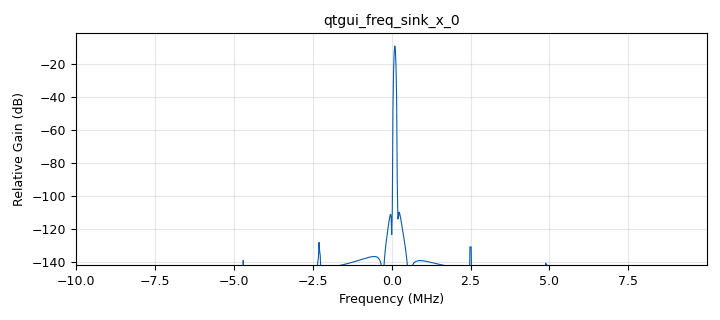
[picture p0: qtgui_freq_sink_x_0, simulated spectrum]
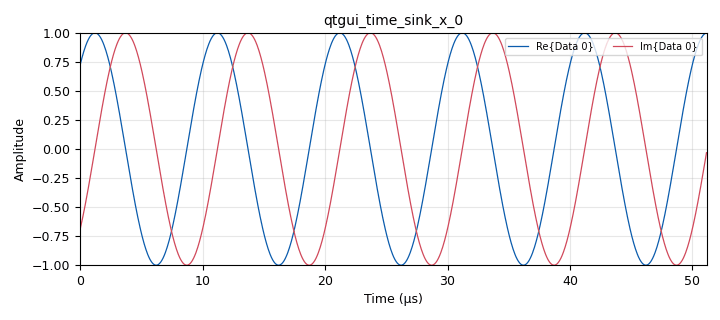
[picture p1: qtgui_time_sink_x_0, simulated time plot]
<?xml version='1.0' encoding='utf-8'?>
<?grc format='1' created='3.7.10'?>
<flow_graph>
<block>
<key>options</key>
<param><key>id</key><value>top_block</value></param>
<param><key>generate_options</key><value>qt_gui</value></param>
</block>
<block>
<key>variable_qtgui_range</key>
<param><key>id</key><value>bb_gain</value></param>
<param><key>value</key><value>0</value></param>
<param><key>orient</key><value>Qt.Horizontal</value></param>
<param><key>start</key><value>0</value></param>
<param><key>step</key><value>2</value></param>
<param><key>stop</key><value>62</value></param>
</block>
<block>
<key>variable</key>
<param><key>id</key><value>center_freq</value></param>
<param><key>value</key><value>40e6</value></param>
</block>
<block>
<key>variable_qtgui_range</key>
<param><key>id</key><value>freq</value></param>
<param><key>value</key><value>100e3</value></param>
<param><key>orient</key><value>Qt.Horizontal</value></param>
<param><key>start</key><value>100e3</value></param>
<param><key>step</key><value>100e3</value></param>
<param><key>stop</key><value>100000e3</value></param>
</block>
<block>
<key>variable_qtgui_range</key>
<param><key>id</key><value>if_gain</value></param>
<param><key>value</key><value>0</value></param>
<param><key>orient</key><value>Qt.Horizontal</value></param>
<param><key>start</key><value>0</value></param>
<param><key>step</key><value>8</value></param>
<param><key>stop</key><value>40</value></param>
</block>
<block>
<key>variable_qtgui_range</key>
<param><key>id</key><value>rf_gain</value></param>
<param><key>value</key><value>0</value></param>
<param><key>orient</key><value>Qt.Horizontal</value></param>
<param><key>start</key><value>0</value></param>
<param><key>step</key><value>1</value></param>
<param><key>stop</key><value>12</value></param>
</block>
<block>
<key>variable</key>
<param><key>id</key><value>samp_rate</value></param>
<param><key>value</key><value>20e6</value></param>
</block>
<block>
<key>analog_sig_source_x</key>
<param><key>id</key><value>analog_sig_source_x_0</value></param>
<param><key>amp</key><value>1</value></param>
<param><key>freq</key><value>freq</value></param>
<param><key>offset</key><value>0</value></param>
<param><key>type</key><value>complex</value></param>
<param><key>samp_rate</key><value>samp_rate</value></param>
<param><key>waveform</key><value>analog.GR_COS_WAVE</value></param>
</block>
<block>
<key>osmosdr_sink</key>
<param><key>id</key><value>osmosdr_sink_0</value></param>
<param><key>bb_gain0</key><value>bb_gain</value></param>
<param><key>freq0</key><value>center_freq</value></param>
<param><key>if_gain0</key><value>if_gain</value></param>
<param><key>gain0</key><value>rf_gain</value></param>
<param><key>args</key><value></value></param>
<param><key>type</key><value>fc32</value></param>
<param><key>sample_rate</key><value>samp_rate</value></param>
<param><key>sync</key><value></value></param>
</block>
<block>
<key>qtgui_freq_sink_x</key>
<param><key>id</key><value>qtgui_freq_sink_x_0</value></param>
<param><key>autoscale</key><value>True</value></param>
<param><key>bw</key><value>samp_rate</value></param>
<param><key>fc</key><value>0</value></param>
<param><key>fftsize</key><value>1024</value></param>
<param><key>grid</key><value>True</value></param>
<param><key>showports</key><value>True</value></param>
<param><key>type</key><value>complex</value></param>
<param><key>wintype</key><value>firdes.WIN_BLACKMAN_hARRIS</value></param>
</block>
<block>
<key>qtgui_time_sink_x</key>
<param><key>id</key><value>qtgui_time_sink_x_0</value></param>
<param><key>color1</key><value>"blue"</value></param>
<param><key>label1</key><value></value></param>
<param><key>color2</key><value>"red"</value></param>
<param><key>label2</key><value></value></param>
<param><key>size</key><value>1024</value></param>
<param><key>srate</key><value>samp_rate</value></param>
<param><key>type</key><value>complex</value></param>
</block>
<connection><source_block_id>analog_sig_source_x_0</source_block_id><sink_block_id>osmosdr_sink_0</sink_block_id><source_key>0</source_key><sink_key>0</sink_key></connection>
<connection><source_block_id>analog_sig_source_x_0</source_block_id><sink_block_id>qtgui_freq_sink_x_0</sink_block_id><source_key>0</source_key><sink_key>0</sink_key></connection>
<connection><source_block_id>analog_sig_source_x_0</source_block_id><sink_block_id>qtgui_time_sink_x_0</sink_block_id><source_key>0</source_key><sink_key>0</sink_key></connection>
</flow_graph>
